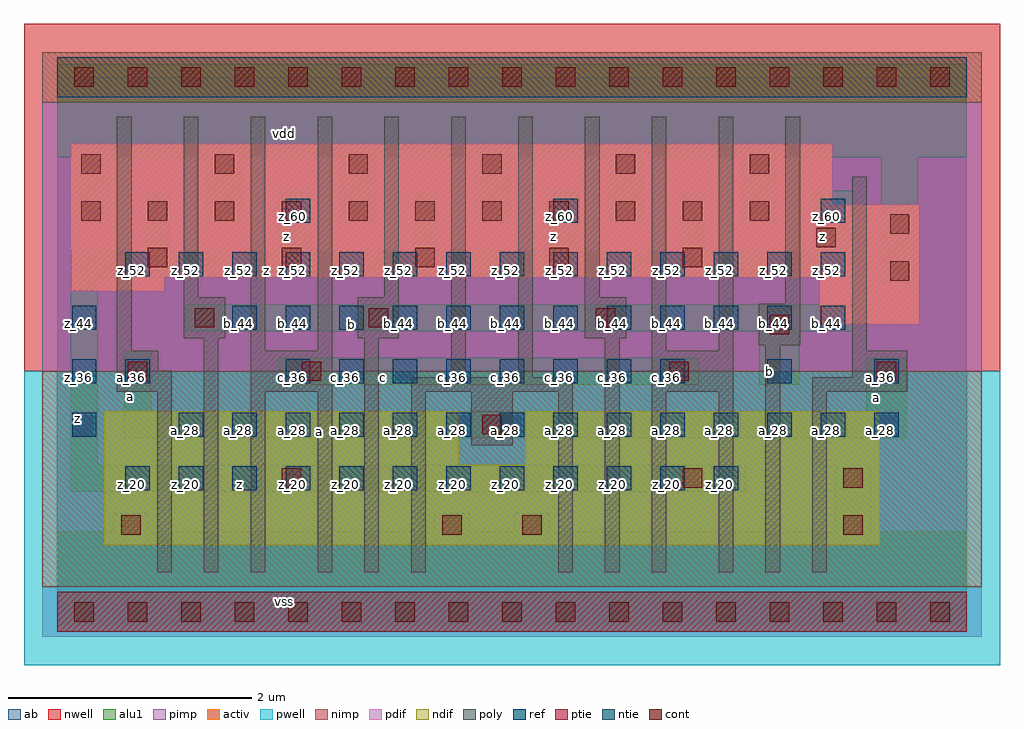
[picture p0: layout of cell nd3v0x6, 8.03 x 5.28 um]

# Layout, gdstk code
import gdstk
lib = gdstk.Library(unit=1e-6, precision=2.5e-09)
def R(c, l, rs):  # rectangles x0, y0, x1, y1
    for r in rs: c.add(gdstk.rectangle(r[:2], r[2:], *l))
def A(c, l, x, y, w, h, nx, ny, dx, dy):  # array of equal rectangles
    R(c, l, [(x+i*dx, y+j*dy, x+i*dx+w, y+j*dy+h) for i in range(nx) for j in range(ny)])
ndif = (3, 0)
pdif = (4, 0)
ntie = (5, 0)
ptie = (6, 0)
ref = (24, 0)
cont = (25, 0)
pwell = (41, 0)
nwell = (42, 0)
activ = (43, 0)
pimp = (44, 0)
nimp = (45, 0)
poly = (46, 0)
alu1 = (49, 0)
ab = (63, 0)

nd3v0x6 = lib.new_cell('nd3v0x6')
R(nd3v0x6, ndif, [(0.385,0.55,6.765,1.21), (0.385,1.21,3.3,1.65), (3.85,1.21,6.765,1.65)])
R(nd3v0x6, pdif, [(6.27,2.365,7.095,2.75), (0.11,2.64,0.88,2.75), (0.11,2.75,7.095,3.355), (0.11,3.355,6.38,3.85)])
R(nd3v0x6, ntie, [(0,4.235,7.48,4.565)])
R(nd3v0x6, ptie, [(0,-0.165,7.48,0.165)])
A(nd3v0x6, ref, 0.56, 1, 0.2, 0.2, 12, 1, 0.44, 0)
A(nd3v0x6, ref, 0.12, 1.44, 0.2, 0.2, 1, 3, 0, 0.44)
A(nd3v0x6, ref, 1, 1.44, 0.2, 0.2, 14, 1, 0.44, 0)
A(nd3v0x6, ref, 1.88, 1.88, 0.2, 0.2, 8, 1, 0.44, 0)
A(nd3v0x6, ref, 1.44, 2.32, 0.2, 0.2, 12, 1, 0.44, 0)
A(nd3v0x6, ref, 0.56, 2.76, 0.2, 0.2, 14, 1, 0.44, 0)
A(nd3v0x6, ref, 1.88, 3.2, 0.2, 0.2, 3, 1, 2.2, 0)
R(nd3v0x6, ref, [(0.56,1.88,0.76,2.08), (5.84,1.88,6.04,2.08), (6.72,1.88,6.92,2.08)])
A(nd3v0x6, cont, 0.14, -0.08, 0.16, 0.16, 17, 2, 0.44, 4.4)
A(nd3v0x6, cont, 0.745, 2.835, 0.16, 0.16, 5, 1, 1.1, 0)
A(nd3v0x6, cont, 0.195, 3.22, 0.16, 0.16, 11, 1, 0.55, 0)
A(nd3v0x6, cont, 0.195, 3.605, 0.16, 0.16, 6, 1, 1.1, 0)
R(nd3v0x6, cont, [(0.525,0.635,0.685,0.795), (3.165,0.635,3.325,0.795), (3.825,0.635,3.985,0.795), (6.465,0.635,6.625,0.795), (1.845,1.02,2.005,1.18), (5.145,1.02,5.305,1.18), (6.465,1.02,6.625,1.18), (3.495,1.46,3.655,1.62), (0.58,1.9,0.74,2.06), (2.01,1.9,2.17,2.06), (5.035,1.9,5.195,2.06), (6.74,1.9,6.9,2.06), (5.86,2.285,6.02,2.445), (1.13,2.34,1.29,2.5), (2.56,2.34,2.72,2.5), (4.43,2.34,4.59,2.5), (6.85,2.725,7.01,2.885), (6.245,3,6.405,3.16), (6.85,3.11,7.01,3.27)])
R(nd3v0x6, pwell, [(-0.275,-0.44,7.755,1.98)])
R(nd3v0x6, nwell, [(-0.275,1.98,7.755,4.84)])
R(nd3v0x6, activ, [(0,-0.165,7.48,0.165), (0.385,0.55,6.765,1.21), (0.385,1.21,3.3,1.65), (3.85,1.21,6.765,1.65), (6.27,2.365,7.095,2.75), (0.11,2.64,0.88,2.75), (0.11,2.75,7.095,3.355), (0.11,3.355,6.38,3.85), (0,4.235,7.48,4.565)])
R(nd3v0x6, pimp, [(-0.125,-0.205,7.605,0.205), (-0.125,1.98,7.605,4.195)])
R(nd3v0x6, nimp, [(-0.125,0.205,7.605,1.98), (-0.125,4.195,7.605,4.605)])
A(nd3v0x6, poly, 1.04, 2.59, 0.12, 1.485, 3, 1, 1.65, 0)
R(nd3v0x6, poly, [(0.82,0.325,0.94,1.81), (1.205,0.325,1.325,2.25), (1.59,0.325,1.71,1.81), (2.14,0.325,2.26,1.81), (2.525,0.325,2.645,2.25), (2.91,0.325,3.03,1.81), (4.12,0.325,4.24,1.81), (4.505,0.325,4.625,2.25), (4.89,0.325,5.01,1.81), (5.44,0.325,5.56,1.81), (5.825,0.325,5.945,2.195), (6.21,0.325,6.33,1.81), (3.405,1.37,3.745,1.81), (0.49,1.81,0.94,1.985), (1.59,1.81,2.26,2.15), (2.91,1.81,4.24,1.93), (4.89,1.81,5.56,2.15), (6.21,1.81,6.99,1.93), (3.24,1.93,3.36,4.075), (3.79,1.93,3.91,4.075), (6.54,1.93,6.99,2.15), (0.49,1.985,0.83,2.15), (0.49,2.15,0.61,4.075), (1.59,2.15,1.71,4.075), (2.14,2.15,2.26,4.075), (4.89,2.15,5.01,4.075), (5.44,2.15,5.56,4.075), (6.54,2.15,6.66,3.58), (5.77,2.195,6.11,2.535), (1.04,2.25,1.38,2.59), (2.47,2.25,2.81,2.59), (4.34,2.25,4.68,2.59), (5.99,2.535,6.11,4.075)])
A(nd3v0x6, alu1, 0.73, 2.97, 0.19, 0.48, 3, 1, 2.2, 0)
A(nd3v0x6, alu1, 0.125, 3.205, 0.3, 0.535, 6, 1, 1.1, 0)
R(nd3v0x6, alu1, [(0,-0.11,7.48,0.66), (0.455,0.66,0.755,0.81), (3.095,0.66,3.395,0.81), (3.755,0.66,4.055,0.81), (6.395,0.66,6.695,1.195), (0.11,0.99,5.665,1.21), (0.11,1.21,0.33,2.75), (0.55,1.43,6.985,1.65), (0.55,1.65,0.77,2.145), (6.655,1.65,6.985,2.09), (1.815,1.87,5.28,2.09), (5.775,1.87,6.105,2.31), (1.045,2.31,6.545,2.53), (6.78,2.71,7.08,3.74), (0.11,2.75,6.545,2.97), (1.815,2.97,2.09,3.465), (4.015,2.97,4.29,3.465), (6.215,2.97,6.545,3.465), (0,3.74,7.48,4.51)])
R(nd3v0x6, ab, [(0,0,7.48,4.4)])
nd3v0x6.add(gdstk.Label('vss', (1.87,0.0825), layer=49, texttype=0))
nd3v0x6.add(gdstk.Label('z', (1.4975,1.045), layer=49, texttype=0))
nd3v0x6.add(gdstk.Label('a', (2.1575,1.485), layer=49, texttype=0))
nd3v0x6.add(gdstk.Label('a', (6.7375,1.76), layer=49, texttype=0))
nd3v0x6.add(gdstk.Label('b', (5.8575,1.98), layer=49, texttype=0))
nd3v0x6.add(gdstk.Label('c', (2.68,1.925), layer=49, texttype=0))
nd3v0x6.add(gdstk.Label('a', (0.605,1.7725), layer=49, texttype=0))
nd3v0x6.add(gdstk.Label('b', (2.42,2.365), layer=49, texttype=0))
nd3v0x6.add(gdstk.Label('z', (0.165,1.595), layer=49, texttype=0))
nd3v0x6.add(gdstk.Label('z', (1.7175,2.805), layer=49, texttype=0))
nd3v0x6.add(gdstk.Label('z', (6.2975,3.0925), layer=49, texttype=0))
nd3v0x6.add(gdstk.Label('z', (4.0825,3.0925), layer=49, texttype=0))
nd3v0x6.add(gdstk.Label('z', (1.8825,3.0925), layer=49, texttype=0))
nd3v0x6.add(gdstk.Label('vdd', (1.87,3.9325), layer=49, texttype=0))
nd3v0x6.add(gdstk.Label('z_20', (5.45,1.05), layer=24, texttype=0))
nd3v0x6.add(gdstk.Label('a_28', (5.45,1.49), layer=24, texttype=0))
nd3v0x6.add(gdstk.Label('b_44', (5.45,2.37), layer=24, texttype=0))
nd3v0x6.add(gdstk.Label('z_52', (5.45,2.81), layer=24, texttype=0))
nd3v0x6.add(gdstk.Label('a_28', (5.89,1.49), layer=24, texttype=0))
nd3v0x6.add(gdstk.Label('b_36', (5.89,1.93), layer=24, texttype=0))
nd3v0x6.add(gdstk.Label('b_44', (5.89,2.37), layer=24, texttype=0))
nd3v0x6.add(gdstk.Label('z_52', (5.89,2.81), layer=24, texttype=0))
nd3v0x6.add(gdstk.Label('a_28', (6.33,1.49), layer=24, texttype=0))
nd3v0x6.add(gdstk.Label('b_44', (6.33,2.37), layer=24, texttype=0))
nd3v0x6.add(gdstk.Label('z_52', (6.33,2.81), layer=24, texttype=0))
nd3v0x6.add(gdstk.Label('z_60', (6.33,3.25), layer=24, texttype=0))
nd3v0x6.add(gdstk.Label('z_20', (0.61,1.05), layer=24, texttype=0))
nd3v0x6.add(gdstk.Label('a_36', (0.61,1.93), layer=24, texttype=0))
nd3v0x6.add(gdstk.Label('z_52', (0.61,2.81), layer=24, texttype=0))
nd3v0x6.add(gdstk.Label('a_28', (6.77,1.49), layer=24, texttype=0))
nd3v0x6.add(gdstk.Label('a_36', (6.77,1.93), layer=24, texttype=0))
nd3v0x6.add(gdstk.Label('z_20', (1.05,1.05), layer=24, texttype=0))
nd3v0x6.add(gdstk.Label('a_28', (1.05,1.49), layer=24, texttype=0))
nd3v0x6.add(gdstk.Label('z_52', (1.05,2.81), layer=24, texttype=0))
nd3v0x6.add(gdstk.Label('z_20', (1.49,1.05), layer=24, texttype=0))
nd3v0x6.add(gdstk.Label('a_28', (1.49,1.49), layer=24, texttype=0))
nd3v0x6.add(gdstk.Label('b_44', (1.49,2.37), layer=24, texttype=0))
nd3v0x6.add(gdstk.Label('z_52', (1.49,2.81), layer=24, texttype=0))
nd3v0x6.add(gdstk.Label('z_20', (1.93,1.05), layer=24, texttype=0))
nd3v0x6.add(gdstk.Label('a_28', (1.93,1.49), layer=24, texttype=0))
nd3v0x6.add(gdstk.Label('c_36', (1.93,1.93), layer=24, texttype=0))
nd3v0x6.add(gdstk.Label('b_44', (1.93,2.37), layer=24, texttype=0))
nd3v0x6.add(gdstk.Label('z_52', (1.93,2.81), layer=24, texttype=0))
nd3v0x6.add(gdstk.Label('z_60', (1.93,3.25), layer=24, texttype=0))
nd3v0x6.add(gdstk.Label('z_28', (0.17,1.49), layer=24, texttype=0))
nd3v0x6.add(gdstk.Label('z_36', (0.17,1.93), layer=24, texttype=0))
nd3v0x6.add(gdstk.Label('z_44', (0.17,2.37), layer=24, texttype=0))
nd3v0x6.add(gdstk.Label('z_20', (2.37,1.05), layer=24, texttype=0))
nd3v0x6.add(gdstk.Label('a_28', (2.37,1.49), layer=24, texttype=0))
nd3v0x6.add(gdstk.Label('c_36', (2.37,1.93), layer=24, texttype=0))
nd3v0x6.add(gdstk.Label('b_44', (2.37,2.37), layer=24, texttype=0))
nd3v0x6.add(gdstk.Label('z_52', (2.37,2.81), layer=24, texttype=0))
nd3v0x6.add(gdstk.Label('z_20', (2.81,1.05), layer=24, texttype=0))
nd3v0x6.add(gdstk.Label('a_28', (2.81,1.49), layer=24, texttype=0))
nd3v0x6.add(gdstk.Label('c_36', (2.81,1.93), layer=24, texttype=0))
nd3v0x6.add(gdstk.Label('b_44', (2.81,2.37), layer=24, texttype=0))
nd3v0x6.add(gdstk.Label('z_52', (2.81,2.81), layer=24, texttype=0))
nd3v0x6.add(gdstk.Label('z_20', (3.25,1.05), layer=24, texttype=0))
nd3v0x6.add(gdstk.Label('a_28', (3.25,1.49), layer=24, texttype=0))
nd3v0x6.add(gdstk.Label('c_36', (3.25,1.93), layer=24, texttype=0))
nd3v0x6.add(gdstk.Label('b_44', (3.25,2.37), layer=24, texttype=0))
nd3v0x6.add(gdstk.Label('z_52', (3.25,2.81), layer=24, texttype=0))
nd3v0x6.add(gdstk.Label('z_20', (3.69,1.05), layer=24, texttype=0))
nd3v0x6.add(gdstk.Label('a_28', (3.69,1.49), layer=24, texttype=0))
nd3v0x6.add(gdstk.Label('c_36', (3.69,1.93), layer=24, texttype=0))
nd3v0x6.add(gdstk.Label('b_44', (3.69,2.37), layer=24, texttype=0))
nd3v0x6.add(gdstk.Label('z_52', (3.69,2.81), layer=24, texttype=0))
nd3v0x6.add(gdstk.Label('z_20', (4.13,1.05), layer=24, texttype=0))
nd3v0x6.add(gdstk.Label('a_28', (4.13,1.49), layer=24, texttype=0))
nd3v0x6.add(gdstk.Label('c_36', (4.13,1.93), layer=24, texttype=0))
nd3v0x6.add(gdstk.Label('b_44', (4.13,2.37), layer=24, texttype=0))
nd3v0x6.add(gdstk.Label('z_52', (4.13,2.81), layer=24, texttype=0))
nd3v0x6.add(gdstk.Label('z_60', (4.13,3.25), layer=24, texttype=0))
nd3v0x6.add(gdstk.Label('z_20', (4.57,1.05), layer=24, texttype=0))
nd3v0x6.add(gdstk.Label('a_28', (4.57,1.49), layer=24, texttype=0))
nd3v0x6.add(gdstk.Label('c_36', (4.57,1.93), layer=24, texttype=0))
nd3v0x6.add(gdstk.Label('b_44', (4.57,2.37), layer=24, texttype=0))
nd3v0x6.add(gdstk.Label('z_52', (4.57,2.81), layer=24, texttype=0))
nd3v0x6.add(gdstk.Label('z_20', (5.01,1.05), layer=24, texttype=0))
nd3v0x6.add(gdstk.Label('a_28', (5.01,1.49), layer=24, texttype=0))
nd3v0x6.add(gdstk.Label('c_36', (5.01,1.93), layer=24, texttype=0))
nd3v0x6.add(gdstk.Label('b_44', (5.01,2.37), layer=24, texttype=0))
nd3v0x6.add(gdstk.Label('z_52', (5.01,2.81), layer=24, texttype=0))

lib.write_gds('nd3v0x6.gds')
